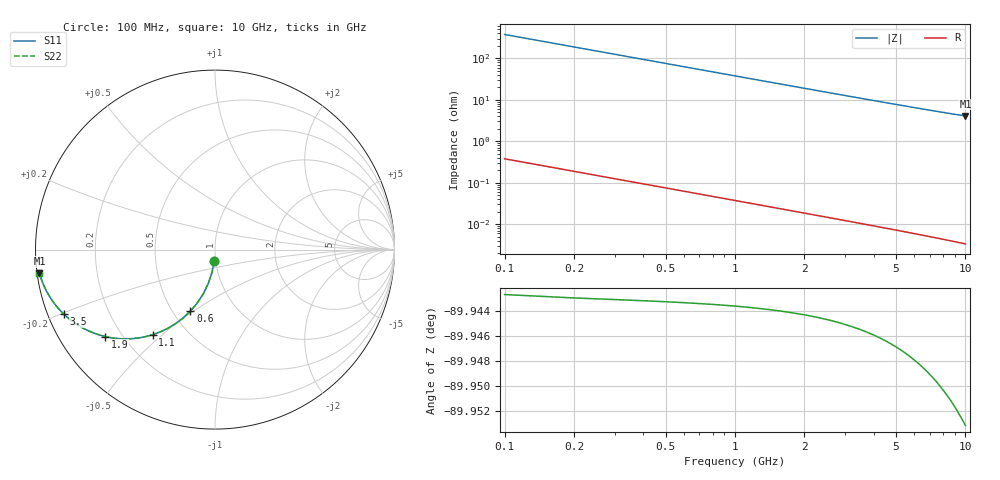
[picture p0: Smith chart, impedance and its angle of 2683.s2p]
# Hz S RI R 50.00
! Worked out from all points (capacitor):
!   100 points, 100 MHz to 10 GHz, reference 50 ohm
!   read as one part in shunt: C = 4.22 pF near 100 MHz
!   lowest |Z| = 4.07 ohm at 10 GHz (marker M1)
!   S11 on the Smith chart (normalised r, x): 100 MHz: 0.98, -0.13; 600 MHz: 0.61, -0.49; 1.1 GHz: 0.32, -0.47; 1.9 GHz: 0.14, -0.34; 3.5 GHz: 0.05, -0.20; 10 GHz: 0.01, -0.07
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1e8  -0.00442 -0.0659  0.9955 -0.0661  0.9955 -0.0661  -0.00442 -0.0659
2e8  -0.0174 -0.13  0.9826 -0.1305  0.9826 -0.1305  -0.0174 -0.13
3e8  -0.0382 -0.1909  0.9617 -0.1917  0.9617 -0.1917  -0.0382 -0.1909
4e8  -0.0659 -0.2471  0.9341 -0.2482  0.9341 -0.2482  -0.0659 -0.2471
5e8  -0.0992 -0.2978  0.9008 -0.2991  0.9008 -0.2991  -0.0992 -0.2978
6e8  -0.1368 -0.3424  0.8632 -0.3439  0.8632 -0.3439  -0.1368 -0.3424
8e8  -0.2196 -0.4124  0.7804 -0.4145  0.7804 -0.4145  -0.2196 -0.4124
9e8  -0.2625 -0.4383  0.7375 -0.4407  0.7375 -0.4407  -0.2625 -0.4383
1.1e9  -0.3469 -0.474  0.6531 -0.4769  0.6531 -0.4769  -0.3469 -0.474
1.4e9  -0.4621 -0.4962  0.5378 -0.4999  0.5378 -0.4999  -0.4621 -0.4962
1.8e9  -0.5864 -0.4896  0.4135 -0.4943  0.4135 -0.4943  -0.5864 -0.4896
1.9e9  -0.6123 -0.4842  0.3876 -0.4892  0.3876 -0.4892  -0.6123 -0.4842
2.2e9  -0.679 -0.4634  0.3209 -0.4692  0.3209 -0.4692  -0.679 -0.4634
2.6e9  -0.7469 -0.4308  0.253 -0.4377  0.253 -0.4377  -0.7469 -0.4308
3e9  -0.797 -0.3978  0.203 -0.4057  0.203 -0.4057  -0.797 -0.3978
3.4e9  -0.8344 -0.3667  0.1655 -0.3757  0.1655 -0.3757  -0.8344 -0.3667
3.5e9  -0.8422 -0.3593  0.1577 -0.3686  0.1577 -0.3686  -0.8422 -0.3593
4.2e9  -0.8848 -0.313  0.1151 -0.3243  0.1151 -0.3243  -0.8848 -0.313
5.1e9  -0.9189 -0.2655  0.0809 -0.2792  0.0809 -0.2792  -0.9189 -0.2655
6.7e9  -0.9515 -0.2049  0.0483 -0.2232  0.0483 -0.2232  -0.9515 -0.2049
8.4e9  -0.9688 -0.1612  0.0309 -0.1845  0.0309 -0.1845  -0.9688 -0.1612
1e10  -0.978 -0.1315  0.0216 -0.1596  0.0216 -0.1596  -0.978 -0.1315
